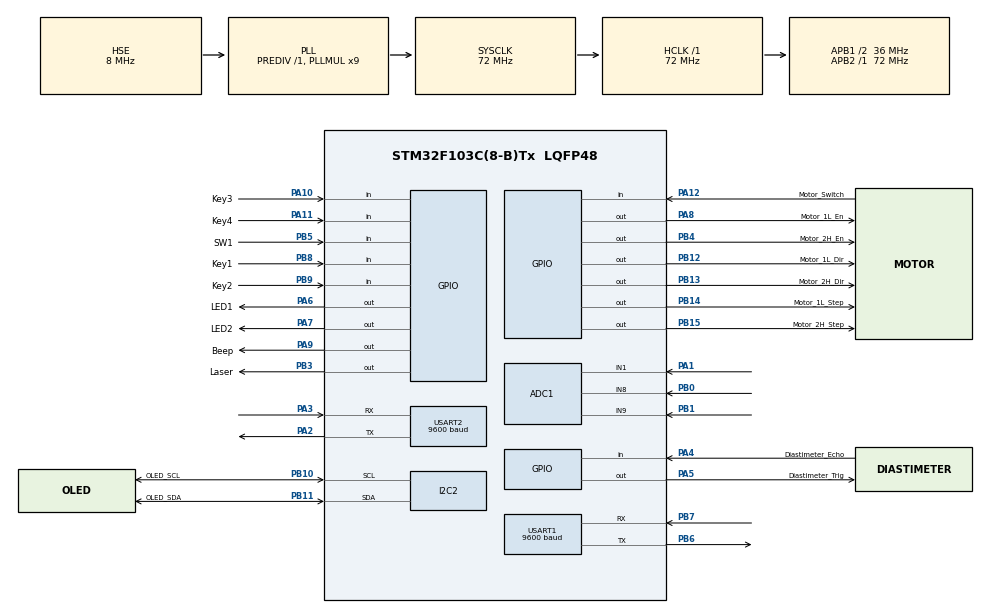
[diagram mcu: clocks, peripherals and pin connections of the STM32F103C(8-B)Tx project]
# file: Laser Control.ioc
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ADC1.Channel-3\#ChannelRegularConversion=ADC_CHANNEL_1
ADC1.Channel-4\#ChannelRegularConversion=ADC_CHANNEL_8
ADC1.Channel-5\#ChannelRegularConversion=ADC_CHANNEL_9
ADC1.ContinuousConvMode=ENABLE
ADC1.NbrOfConversion=3
ADC1.NbrOfConversionFlag=1
ADC1.Rank-3\#ChannelRegularConversion=1
ADC1.Rank-4\#ChannelRegularConversion=2
ADC1.Rank-5\#ChannelRegularConversion=3
ADC1.SamplingTime-3\#ChannelRegularConversion=ADC_SAMPLETIME_55CYCLES_5
ADC1.SamplingTime-4\#ChannelRegularConversion=ADC_SAMPLETIME_55CYCLES_5
ADC1.SamplingTime-5\#ChannelRegularConversion=ADC_SAMPLETIME_55CYCLES_5
ADC1.master=1
Dma.ADC1.0.Direction=DMA_PERIPH_TO_MEMORY
Dma.ADC1.0.Instance=DMA1_Channel1
Dma.ADC1.0.MemDataAlignment=DMA_MDATAALIGN_HALFWORD
Dma.ADC1.0.MemInc=DMA_MINC_ENABLE
Dma.ADC1.0.Mode=DMA_CIRCULAR
Dma.ADC1.0.PeriphDataAlignment=DMA_PDATAALIGN_HALFWORD
Dma.ADC1.0.PeriphInc=DMA_PINC_DISABLE
Dma.ADC1.0.Priority=DMA_PRIORITY_LOW
Dma.Request0=ADC1
Mcu.Family=STM32F1
Mcu.Name=STM32F103C(8-B)Tx
Mcu.Package=LQFP48
NVIC.DMA1_Channel1_IRQn=true\:0\:0\:false\:false\:true\:false\:true\:true
NVIC.PriorityGroup=NVIC_PRIORITYGROUP_2
NVIC.TIM1_UP_IRQn=true\:2\:0\:true\:false\:true\:true\:true\:true
NVIC.TIM3_IRQn=true\:2\:0\:true\:false\:true\:true\:true\:true
NVIC.TIM4_IRQn=true\:3\:0\:true\:false\:true\:true\:true\:true
NVIC.USART1_IRQn=true\:0\:0\:false\:false\:true\:true\:true\:true
NVIC.USART2_IRQn=true\:1\:1\:true\:false\:true\:true\:true\:true
PA1.Signal=ADCx_IN1
PA10.GPIO_Label=Key3
PA10.GPIO_PuPd=GPIO_PULLUP
PA10.Signal=GPIO_Input
PA11.GPIO_Label=Key4
PA11.GPIO_PuPd=GPIO_PULLUP
PA11.Signal=GPIO_Input
PA12.GPIO_Label=Motor_Switch
PA12.GPIO_PuPd=GPIO_NOPULL
PA12.Signal=GPIO_Input
PA13.Mode=Serial_Wire
PA13.Signal=SYS_JTMS-SWDIO
PA14.Mode=Serial_Wire
PA14.Signal=SYS_JTCK-SWCLK
PA2.Mode=Asynchronous
PA2.Signal=USART2_TX
PA3.Mode=Asynchronous
PA3.Signal=USART2_RX
PA4.GPIO_Label=Diastimeter_Echo
PA4.GPIO_PuPd=GPIO_PULLDOWN
PA4.Signal=GPIO_Input
PA5.GPIO_Label=Diastimeter_Trig
PA5.GPIO_PuPd=GPIO_NOPULL
PA5.GPIO_Speed=GPIO_SPEED_FREQ_HIGH
PA5.PinState=GPIO_PIN_RESET
PA5.Signal=GPIO_Output
PA6.GPIO_Label=LED1
PA6.GPIO_PuPd=GPIO_PULLUP
PA6.GPIO_Speed=GPIO_SPEED_FREQ_HIGH
PA6.PinState=GPIO_PIN_SET
PA6.Signal=GPIO_Output
PA7.GPIO_Label=LED2
PA7.GPIO_PuPd=GPIO_PULLUP
PA7.GPIO_Speed=GPIO_SPEED_FREQ_HIGH
PA7.PinState=GPIO_PIN_SET
PA7.Signal=GPIO_Output
PA8.GPIO_Label=Motor_1L_En
PA8.GPIO_Speed=GPIO_SPEED_FREQ_HIGH
PA8.Signal=GPIO_Output
PA9.GPIO_Label=Beep
PA9.GPIO_ModeDefaultOutputPP=GPIO_MODE_OUTPUT_OD
PA9.GPIO_PuPd=GPIO_NOPULL
PA9.GPIO_Speed=GPIO_SPEED_FREQ_HIGH
PA9.Signal=GPIO_Output
PB0.Signal=ADCx_IN8
PB1.Signal=ADCx_IN9
PB10.GPIO_Label=OLED_SCL
PB10.Mode=I2C
PB10.Signal=I2C2_SCL
PB11.GPIO_Label=OLED_SDA
PB11.Mode=I2C
PB11.Signal=I2C2_SDA
PB12.GPIO_Label=Motor_1L_Dir
PB12.GPIO_PuPd=GPIO_PULLDOWN
PB12.GPIO_Speed=GPIO_SPEED_FREQ_HIGH
PB12.Signal=GPIO_Output
PB13.GPIO_Label=Motor_2H_Dir
PB13.GPIO_PuPd=GPIO_PULLDOWN
PB13.GPIO_Speed=GPIO_SPEED_FREQ_HIGH
PB13.Signal=GPIO_Output
PB14.GPIO_Label=Motor_1L_Step
PB14.GPIO_PuPd=GPIO_PULLDOWN
PB14.GPIO_Speed=GPIO_SPEED_FREQ_HIGH
PB14.PinState=GPIO_PIN_RESET
PB14.Signal=GPIO_Output
PB15.GPIO_Label=Motor_2H_Step
PB15.GPIO_PuPd=GPIO_PULLDOWN
PB15.GPIO_Speed=GPIO_SPEED_FREQ_HIGH
PB15.PinState=GPIO_PIN_RESET
PB15.Signal=GPIO_Output
PB3.GPIO_Label=Laser
PB3.GPIO_PuPd=GPIO_PULLDOWN
PB3.GPIO_Speed=GPIO_SPEED_FREQ_HIGH
PB3.Signal=GPIO_Output
PB4.GPIO_Label=Motor_2H_En
PB4.GPIO_Speed=GPIO_SPEED_FREQ_HIGH
PB4.Signal=GPIO_Output
PB5.GPIO_Label=SW1
PB5.GPIO_PuPd=GPIO_PULLDOWN
PB5.Signal=GPIO_Input
PB6.Mode=Asynchronous
PB6.Signal=USART1_TX
PB7.Mode=Asynchronous
PB7.Signal=USART1_RX
PB8.GPIO_Label=Key1
PB8.GPIO_PuPd=GPIO_PULLUP
PB8.Signal=GPIO_Input
PB9.GPIO_Label=Key2
PB9.GPIO_PuPd=GPIO_PULLUP
PB9.Signal=GPIO_Input
PD0-OSC_IN.Mode=HSE-External-Oscillator
PD0-OSC_IN.Signal=RCC_OSC_IN
PD1-OSC_OUT.Mode=HSE-External-Oscillator
PD1-OSC_OUT.Signal=RCC_OSC_OUT
ProjectManager.HeapSize=0x200
ProjectManager.StackSize=0x400
ProjectManager.TargetToolchain=MDK-ARM V5.32
RCC.ADCPresc=RCC_ADCPCLK2_DIV8
RCC.AHBFreq_Value=72000000
RCC.APB1CLKDivider=RCC_HCLK_DIV2
RCC.APB1Freq_Value=36000000
RCC.APB1TimFreq_Value=72000000
RCC.APB2Freq_Value=72000000
RCC.APB2TimFreq_Value=72000000
RCC.HCLKFreq_Value=72000000
RCC.PLLMUL=RCC_PLL_MUL9
RCC.PLLSourceVirtual=RCC_PLLSOURCE_HSE
RCC.SYSCLKFreq_VALUE=72000000
RCC.SYSCLKSource=RCC_SYSCLKSOURCE_PLLCLK
RCC.USBFreq_Value=72000000
SH.ADCx_IN1.0=ADC2_IN1
SH.ADCx_IN1.1=ADC1_IN1,IN1
SH.ADCx_IN8.0=ADC2_IN8
SH.ADCx_IN8.1=ADC1_IN8,IN8
SH.ADCx_IN9.0=ADC2_IN9
SH.ADCx_IN9.1=ADC1_IN9,IN9
TIM1.AutoReloadPreload=TIM_AUTORELOAD_PRELOAD_ENABLE
TIM1.Period=10000-1
TIM1.Prescaler=72-1
TIM2.AutoReloadPreload=TIM_AUTORELOAD_PRELOAD_ENABLE
TIM2.Period=1000-1
TIM2.Prescaler=72-1
TIM3.AutoReloadPreload=TIM_AUTORELOAD_PRELOAD_ENABLE
TIM3.Period=1000-1
TIM3.Prescaler=72-1
TIM4.AutoReloadPreload=TIM_AUTORELOAD_PRELOAD_ENABLE
TIM4.Prescaler=72-1
USART1.BaudRate=9600
USART1.VirtualMode=VM_ASYNC
USART2.BaudRate=9600
USART2.VirtualMode=VM_ASYNC
VP_TIM1_VS_ClockSourceINT.Mode=Internal
VP_TIM2_VS_ClockSourceINT.Mode=Internal
VP_TIM3_VS_ClockSourceINT.Mode=Internal
VP_TIM4_VS_ClockSourceINT.Mode=Internal
board=custom

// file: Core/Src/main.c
/* USER CODE BEGIN Header */
/**
  ******************************************************************************
  * @file           : main.c
  * @brief          : Main program body
  ******************************************************************************
  * @attention
  *
  * Copyright (c) 2025 STMicroelectronics.
  * All rights reserved.
  *
  * This software is licensed under terms that can be found in the LICENSE file
  * in the root directory of this software component.
  * If no LICENSE file comes with this software, it is provided AS-IS.
  *
  ******************************************************************************
  */
/* USER CODE END Header */
#include "main.h"
#include "adc.h"
#include "dma.h"
#include "i2c.h"
#include "tim.h"
#include "usart.h"
#include "gpio.h"

/* USER CODE BEGIN Includes */

#include <math.h>
#include "BEEP.h"
#include "OLED.h"
#include "MOTOR.h"
#include "KEY.h"
#include "Menu.h"
#include "JOYSTICK.h"
#include "Coordinate.h"
#include "queue.h"
#include "Control.h"
/* USER CODE END Includes */

/* USER CODE BEGIN PD */
#define abs(x) (x > 0 ? x : (-x))
/* USER CODE END PD */

/* USER CODE BEGIN PV */
uint8_t rx_data;

//10ms刷新一次
uint32_t time = 0;
uint32_t Beep_time = 0;
uint32_t Wait_time = 0;

uint8_t a4_num = 0;
/* USER CODE END PV */

void SystemClock_Config(void);

/* USER CODE BEGIN 0 */
//uart2回调，收集k210给的数据，存储到x和y
void HAL_UART_RxCpltCallback(UART_HandleTypeDef *huart)
{
  static uint8_t tmp_data;  //临时存储
  static uint8_t tmp_last_data;  //临时存储上一个

  if (huart->Instance == USART2)
  {
    tmp_last_data = tmp_data;//存储上一个
    tmp_data = rx_data;  //获取数据

    switch(uart2_rx_state)
    {
      case 0:
        if(tmp_data == 0xff)
        {
          uart2_rx_state = 1;
          uart2_rx_length = 0;
          uart2_rx_flag = 0;
        }
        break;

      case 1:
        if(tmp_data == 0x01)//a4点
        {
          uart2_rx_state = 2;
          uart2_rx_mode = 1;
        }
        else if (tmp_data == 0x02)//now点
        {
          uart2_rx_state = 2;
          uart2_rx_mode = 0;
        }
        break;

      case 2:  //接收数据体
        if(tmp_data == 0xfe && tmp_last_data == 0xfe) //end
        {
          uart2_rx_state = 0;
          uart2_rx_buffer[uart2_rx_length] = '\0';
          uart2_rx_flag = 1;
          if (uart2_rx_mode == 0)//写入pixnow
          {
            laser.Now_Pix.x = (uart2_rx_buffer[0]<<8) | (uart2_rx_buffer[1]);
            laser.Now_Pix.y = (uart2_rx_buffer[2]<<8) | (uart2_rx_buffer[3]);
          }
          else if (uart2_rx_mode == 1)//a4
          {
            Pixel_Point tem_point;
            tem_point.x = (uart2_rx_buffer[0]<<8) | (uart2_rx_buffer[1]);
            tem_point.y = (uart2_rx_buffer[2]<<8) | (uart2_rx_buffer[3]);

            //识别的大部分是外,向原点方向移动矫正
            tem_point.x += (tem_point.x < sys_set.origin_point.x ? 1 : -1) * 2;
            tem_point.y += (tem_point.y < sys_set.origin_point.y ? 1 : -1) * 2;

            Point_Queue_Enqueue(&(sys_set.Cam_Point), tem_point);
            a4_num++;
            if (a4_num == 4)
            {
              sys_set.Flag.A4_Set = 1;
              a4_num = 0;
            }
          }
          uart2_rx_mode = 0;
        }
        else
        {
          if(uart2_rx_length < RX_BUFFER_SIZE-1)
          {
            uart2_rx_buffer[uart2_rx_length++] = tmp_data;
          }
        }
        break;
    }
    HAL_UART_Receive_IT(&huart2, &rx_data, 1);
  }
}

void HAL_TIM_PeriodElapsedCallback(TIM_HandleTypeDef *htim)
{
  //tim1，10ms，暂时啥也没有
  if (htim -> Instance == TIM1)
  {
    //10ms
    static uint16_t tim_i = 0;
    if(tim_i == 10)
    {
      tim_i = 0;
    }
    else tim_i ++;
  }

  //tim3，10ms，用于查看到达情况，取点，设定方向，走一步
  if (htim -> Instance == TIM3)
  {
    //10ms
    //如果队列已经走完，则直接退出
    // if(sys_set.Flag.End == 1)return;

    //调取下一个点（如果刚设置模式，则此时arrive为1，会取刚刚入队的点）
    if (sys_set.Flag.Arrive == 1)
    {
      //调用下一个点到set，如果65535则结束

      Pixel_Point point = Point_Queue_Dequeue(&(sys_set.Target_Point));
      if (point.x > 1000 || point.x == 0)
      {
        sys_set.Flag.End = 1;
        Control_SetMode(Mode_Joystick);
      }
      else
      {
        laser.Set_Pix = point;
        CheckUpdate_Del();
        sys_set.Flag.Arrive = 0;
        Beep_Request(0.1);
      }
    }

    //检查set和now的更新，并以此更新del
    // CheckUpdate_Del();
    // Motor_Lock_Check();

    // Segment seg;
    // Segment_Init(&seg, laser.Now_Pix, laser.Set_Pix);

    // 给两个电机设定方向，并检测是否到达,如果到达了会给两个电机置stop，下面不会动
    //更新到达情况和方向,如果到了置1,没到置0
    sys_set.Flag.Arrive = !Motor_Dir_Set(&motor_1L, &motor_2H, laser.Del_mm);
    // 如果是摇杆模式，直接设定还没到达，并设定方向
    if(Current_Mode == Mode_Joystick)
    {
      // sys_set.Flag.Arrive = 0;
      motor_1L.Dir = Joy_Get_X();
      motor_2H.Dir = Joy_Get_Y();
      Motor_Move_Unit(motor_1L);
      Motor_Move_Unit(motor_2H);
      return;
    }

    // float n = TOTAL_STEP > abs(seg.dis - 5) ? abs(seg.dis - 5): TOTAL_STEP;
    // OLED_ShowFloat(1, 3, n);
    // for (int i = 1; i <= n * cos(seg.theta) * cos(seg.theta); ++i)
    //   Motor_Move_Unit(motor_1L);
    // for (int i = 1; i <= n * sin(seg.theta) * sin(seg.theta); ++i)
    //   Motor_Move_Unit(motor_2H);
    // //判断是否走，走一步,并更新电机的位置
    Motor_Update_Position(&motor_1L, &laser.Del_mm.x, Motor_Step_Dis(motor_1L, laser) * 1.2);
    Motor_Update_Position(&motor_2H, &laser.Del_mm.y, Motor_Step_Dis(motor_2H, laser) * 1.2);
  }

  if (htim -> Instance == TIM4)
  {
    time ++;

    Beep_Update();
  }
}
/* USER CODE END 0 */

int main(void)
{

  /* MCU Configuration--------------------------------------------------------*/

  /* Reset of all peripherals, Initializes the Flash interface and the Systick. */
  HAL_Init();

  /* Configure the system clock */
  SystemClock_Config();

  /* Initialize all configured peripherals */
  MX_GPIO_Init();
  MX_DMA_Init();
  MX_ADC1_Init();
  MX_TIM1_Init();
  MX_I2C2_Init();
  MX_TIM2_Init();
  MX_USART1_UART_Init();
  MX_USART2_UART_Init();
  MX_TIM3_Init();
  MX_TIM4_Init();
  /* USER CODE BEGIN 2 */
  HAL_ADCEx_Calibration_Start(&hadc1);
  HAL_ADC_Start_DMA(&hadc1, (uint32_t *)adcData, 3);
  HAL_TIM_Base_Start_IT(&htim1);
  HAL_TIM_Base_Start_IT(&htim3);
  HAL_TIM_Base_Start_IT(&htim4);
  HAL_UART_Receive_IT(&huart2, &rx_data, 1);
  OLED_Init();
  Motor_Init();
  Menu_Init();

  HAL_GPIO_WritePin(LED1_GPIO_Port, LED1_Pin, GPIO_PIN_RESET);
  HAL_GPIO_WritePin(LED2_GPIO_Port, LED2_Pin, GPIO_PIN_RESET);

  Point_Queue_Init(&(sys_set.Cam_Point));

    /*无传入的调试信息如下*/

    //用于无初始化的调试
    //{{290,20},{30,20},{23,216},{294,218}};
    sys_set.Calib_Point[0].x = 259;
    sys_set.Calib_Point[0].y = 40;
    sys_set.Calib_Point[1].x = 71;
    sys_set.Calib_Point[1].y = 34;
    sys_set.Calib_Point[2].x = 62;
    sys_set.Calib_Point[2].y = 224;
    sys_set.Calib_Point[3].x = 261;
    sys_set.Calib_Point[3].y = 228;

    Coordinate_Init();

    laser.Now_Pix.x = 100;
    laser.Now_Pix.y = 200;
    //
  /* USER CODE END 2 */

  /* Infinite loop */
  while (1)
  {

    /* USER CODE BEGIN 3 */
    //按键检测并执行
    KEY_Act(KEY_GetNum());
    //adc更新电压和摇杆情况
    ADC_Update();
    //菜单常态显示
    Menu_PageShow();

    // Control_SetMode(Mode_Origin);

  }
  /* USER CODE END 3 */
}

void SystemClock_Config(void)
{
  RCC_OscInitTypeDef RCC_OscInitStruct = {0};
  RCC_ClkInitTypeDef RCC_ClkInitStruct = {0};
  RCC_PeriphCLKInitTypeDef PeriphClkInit = {0};

  /** Initializes the RCC Oscillators according to the specified parameters
  * in the RCC_OscInitTypeDef structure.
  */
  RCC_OscInitStruct.OscillatorType = RCC_OSCILLATORTYPE_HSE;
  RCC_OscInitStruct.HSEState = RCC_HSE_ON;
  RCC_OscInitStruct.HSEPredivValue = RCC_HSE_PREDIV_DIV1;
  RCC_OscInitStruct.HSIState = RCC_HSI_ON;
  RCC_OscInitStruct.PLL.PLLState = RCC_PLL_ON;
  RCC_OscInitStruct.PLL.PLLSource = RCC_PLLSOURCE_HSE;
  RCC_OscInitStruct.PLL.PLLMUL = RCC_PLL_MUL9;
  if (HAL_RCC_OscConfig(&RCC_OscInitStruct) != HAL_OK)
  {
    Error_Handler();
  }

  /** Initializes the CPU, AHB and APB buses clocks
  */
  RCC_ClkInitStruct.ClockType = RCC_CLOCKTYPE_HCLK|RCC_CLOCKTYPE_SYSCLK
                              |RCC_CLOCKTYPE_PCLK1|RCC_CLOCKTYPE_PCLK2;
  RCC_ClkInitStruct.SYSCLKSource = RCC_SYSCLKSOURCE_PLLCLK;
  RCC_ClkInitStruct.AHBCLKDivider = RCC_SYSCLK_DIV1;
  RCC_ClkInitStruct.APB1CLKDivider = RCC_HCLK_DIV2;
  RCC_ClkInitStruct.APB2CLKDivider = RCC_HCLK_DIV1;

  if (HAL_RCC_ClockConfig(&RCC_ClkInitStruct, FLASH_LATENCY_2) != HAL_OK)
  {
    Error_Handler();
  }
  PeriphClkInit.PeriphClockSelection = RCC_PERIPHCLK_ADC;
  PeriphClkInit.AdcClockSelection = RCC_ADCPCLK2_DIV8;
  if (HAL_RCCEx_PeriphCLKConfig(&PeriphClkInit) != HAL_OK)
  {
    Error_Handler();
  }
}

void Error_Handler(void)
{
  __disable_irq();
  while (1)
  {
  }
}
